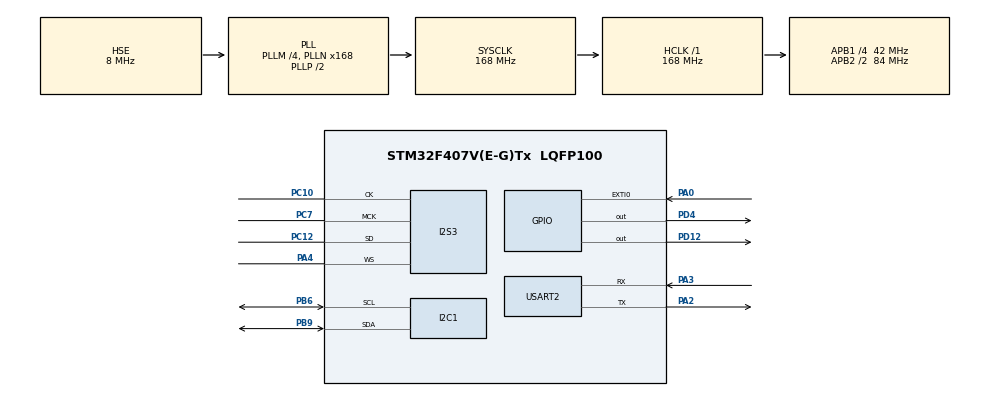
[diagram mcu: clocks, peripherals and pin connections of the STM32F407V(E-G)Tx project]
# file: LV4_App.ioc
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Dma.Request0=USART2_RX
Dma.Request1=USART2_TX
Dma.Request2=SPI3_TX
Dma.SPI3_TX.2.Direction=DMA_MEMORY_TO_PERIPH
Dma.SPI3_TX.2.FIFOMode=DMA_FIFOMODE_ENABLE
Dma.SPI3_TX.2.FIFOThreshold=DMA_FIFO_THRESHOLD_FULL
Dma.SPI3_TX.2.Instance=DMA1_Stream7
Dma.SPI3_TX.2.MemBurst=DMA_MBURST_SINGLE
Dma.SPI3_TX.2.MemDataAlignment=DMA_MDATAALIGN_BYTE
Dma.SPI3_TX.2.MemInc=DMA_MINC_ENABLE
Dma.SPI3_TX.2.Mode=DMA_CIRCULAR
Dma.SPI3_TX.2.PeriphBurst=DMA_PBURST_SINGLE
Dma.SPI3_TX.2.PeriphDataAlignment=DMA_PDATAALIGN_BYTE
Dma.SPI3_TX.2.PeriphInc=DMA_PINC_DISABLE
Dma.SPI3_TX.2.Priority=DMA_PRIORITY_LOW
Dma.USART2_RX.0.Direction=DMA_PERIPH_TO_MEMORY
Dma.USART2_RX.0.FIFOMode=DMA_FIFOMODE_DISABLE
Dma.USART2_RX.0.Instance=DMA1_Stream5
Dma.USART2_RX.0.MemDataAlignment=DMA_MDATAALIGN_BYTE
Dma.USART2_RX.0.MemInc=DMA_MINC_ENABLE
Dma.USART2_RX.0.Mode=DMA_CIRCULAR
Dma.USART2_RX.0.PeriphDataAlignment=DMA_PDATAALIGN_BYTE
Dma.USART2_RX.0.PeriphInc=DMA_PINC_DISABLE
Dma.USART2_RX.0.Priority=DMA_PRIORITY_LOW
Dma.USART2_TX.1.Direction=DMA_MEMORY_TO_PERIPH
Dma.USART2_TX.1.FIFOMode=DMA_FIFOMODE_DISABLE
Dma.USART2_TX.1.Instance=DMA1_Stream6
Dma.USART2_TX.1.MemDataAlignment=DMA_MDATAALIGN_BYTE
Dma.USART2_TX.1.MemInc=DMA_MINC_ENABLE
Dma.USART2_TX.1.Mode=DMA_NORMAL
Dma.USART2_TX.1.PeriphDataAlignment=DMA_PDATAALIGN_BYTE
Dma.USART2_TX.1.PeriphInc=DMA_PINC_DISABLE
Dma.USART2_TX.1.Priority=DMA_PRIORITY_LOW
FREERTOS.HEAP_NUMBER=2
FREERTOS.INCLUDE_vTaskDelayUntil=1
FREERTOS.Tasks01=defaultTask,0,128,StartDefaultTask,Default,NULL,Dynamic,NULL,NULL
FREERTOS.configCHECK_FOR_STACK_OVERFLOW=0
FREERTOS.configTICK_RATE_HZ=100
I2S3.AudioFreq=I2S_AUDIOFREQ_48K
I2S3.ErrorAudioFreq=-2.34 %
I2S3.FullDuplexMode=I2S_FULLDUPLEXMODE_DISABLE
I2S3.Instance=SPI$Index
I2S3.RealAudioFreq=46.875 KHz
I2S3.VirtualMode=I2S_MODE_MASTER
Mcu.Family=STM32F4
Mcu.Name=STM32F407V(E-G)Tx
Mcu.Package=LQFP100
NVIC.DMA1_Stream5_IRQn=true\:5\:0\:false\:false\:true\:true\:false\:true\:true
NVIC.DMA1_Stream6_IRQn=true\:5\:0\:false\:false\:true\:true\:false\:true\:true
NVIC.DMA1_Stream7_IRQn=true\:5\:0\:false\:false\:true\:true\:false\:true\:true
NVIC.EXTI0_IRQn=true\:0\:0\:false\:false\:true\:false\:true\:true\:true
NVIC.PriorityGroup=NVIC_PRIORITYGROUP_4
NVIC.SPI3_IRQn=true\:5\:0\:false\:false\:true\:true\:true\:true\:true
NVIC.TIM2_IRQn=true\:5\:0\:false\:false\:true\:true\:true\:true\:true
NVIC.USART2_IRQn=true\:5\:0\:false\:false\:true\:true\:true\:true\:true
PA0-WKUP.Signal=GPXTI0
PA2.Mode=Asynchronous
PA2.Signal=USART2_TX
PA3.Mode=Asynchronous
PA3.Signal=USART2_RX
PA4.Mode=Half_Duplex_Master
PA4.Signal=I2S3_WS
PB6.Mode=I2C
PB6.Signal=I2C1_SCL
PB9.Mode=I2C
PB9.Signal=I2C1_SDA
PC10.Mode=Half_Duplex_Master
PC10.Signal=I2S3_CK
PC12.Mode=Half_Duplex_Master
PC12.Signal=I2S3_SD
PC14-OSC32_IN.Mode=LSE-External-Oscillator
PC14-OSC32_IN.Signal=RCC_OSC32_IN
PC15-OSC32_OUT.Mode=LSE-External-Oscillator
PC15-OSC32_OUT.Signal=RCC_OSC32_OUT
PC7.Mode=Master_Clock_Activated
PC7.Signal=I2S3_MCK
PD12.GPIO_Speed=GPIO_SPEED_FREQ_VERY_HIGH
PD12.Signal=GPIO_Output
PD4.GPIO_PuPd=GPIO_PULLDOWN
PD4.GPIO_Speed=GPIO_SPEED_FREQ_VERY_HIGH
PD4.Signal=GPIO_Output
PH0-OSC_IN.Mode=HSE-External-Oscillator
PH0-OSC_IN.Signal=RCC_OSC_IN
PH1-OSC_OUT.Mode=HSE-External-Oscillator
PH1-OSC_OUT.Signal=RCC_OSC_OUT
ProjectManager.HeapSize=0x200
ProjectManager.StackSize=0x400
ProjectManager.TargetToolchain=STM32CubeIDE
RCC.48MHZClocksFreq_Value=84000000
RCC.AHBFreq_Value=168000000
RCC.APB1CLKDivider=RCC_HCLK_DIV4
RCC.APB1Freq_Value=42000000
RCC.APB1TimFreq_Value=84000000
RCC.APB2CLKDivider=RCC_HCLK_DIV2
RCC.APB2Freq_Value=84000000
RCC.APB2TimFreq_Value=168000000
RCC.CortexFreq_Value=168000000
RCC.HCLKFreq_Value=168000000
RCC.HSE_VALUE=8000000
RCC.HSI_VALUE=16000000
RCC.PLLM=4
RCC.PLLN=168
RCC.PLLSourceVirtual=RCC_PLLSOURCE_HSE
RCC.SYSCLKFreq_VALUE=168000000
RCC.SYSCLKSource=RCC_SYSCLKSOURCE_PLLCLK
RCC.VCOOutputFreq_Value=336000000
TIM2.Period=4000000
TIM2.Prescaler=1
USART2.VirtualMode=VM_ASYNC
VP_FREERTOS_VS_CMSIS_V1.Mode=CMSIS_V1
VP_TIM2_VS_ClockSourceINT.Mode=Internal
board=custom

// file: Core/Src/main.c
/* USER CODE BEGIN Header */
/**
  ******************************************************************************
  * @file           : main.c
  * @brief          : Main program body
  ******************************************************************************
  * @attention
  *
  * Copyright (c) 2026 STMicroelectronics.
  * All rights reserved.
  *
  * This software is licensed under terms that can be found in the LICENSE file
  * in the root directory of this software component.
  * If no LICENSE file comes with this software, it is provided AS-IS.
  *
  ******************************************************************************
  */
/* USER CODE END Header */
#include "main.h"
#include "cmsis_os.h"
#include "dma.h"
#include "i2c.h"
#include "i2s.h"
#include "tim.h"
#include "usart.h"
#include "gpio.h"

/* USER CODE BEGIN PTD */
typedef enum {
    SYS_WAIT_PASSWORD,
    SYS_NORMAL_PLAY,
	SYS_NORMAL_PAUSE
} SystemState_t;

/* USER CODE END PTD */

/* USER CODE BEGIN PD */
SemaphoreHandle_t passwordOkSem = NULL;

/* USER CODE END PD */

/* USER CODE BEGIN PV */
volatile SystemState_t systemState = SYS_WAIT_PASSWORD;

/* USER CODE END PV */

void SystemClock_Config(void);
void MX_FREERTOS_Init(void);

/* USER CODE BEGIN 0 */
QueueHandle_t freqQueue;
QueueHandle_t ampQueue;

void vTaskLed(void *pvParameters){
	TickType_t xLastWakeTime = xTaskGetTickCount();

	while(1)
	{
		HAL_GPIO_WritePin(LED_GREEN_PORT, LED_GREEN_PIN, GPIO_PIN_SET);
		vTaskDelayUntil(&xLastWakeTime, pdMS_TO_TICKS(100));

        HAL_GPIO_WritePin(LED_GREEN_PORT, LED_GREEN_PIN, GPIO_PIN_RESET);
		vTaskDelayUntil(&xLastWakeTime, pdMS_TO_TICKS(200));

		HAL_GPIO_WritePin(LED_GREEN_PORT, LED_GREEN_PIN, GPIO_PIN_SET);
		vTaskDelayUntil(&xLastWakeTime, pdMS_TO_TICKS(100));

        HAL_GPIO_WritePin(LED_GREEN_PORT, LED_GREEN_PIN, GPIO_PIN_RESET);
		vTaskDelayUntil(&xLastWakeTime, pdMS_TO_TICKS(600));
	}
}

void vTaskPassword(void *pvParameters)
{
    uint8_t buf[sizeof(PASSWORD)];
    uint8_t tmp;
    uint8_t index = 0;

    printf("Lab 4: Programming industrial embedded systems. Please enter password:\r\n");

    while(1)
    {
        if (xQueueReceive(uartRxQueue, &tmp, portMAX_DELAY) == pdTRUE)
        {
            if (tmp == '\r' || tmp == '\n')
                continue;

            if (index < sizeof(buf) - 1)
            {
                buf[index++] = tmp;
            }

            if (index == (sizeof(buf) - 1))
            {
                buf[index] = '\0';

                if (strcmp((char *)buf, PASSWORD) == 0)
                {
                    printf("OK\r\n");
                    systemState = SYS_NORMAL_PLAY;
                    uint8_t delete;
					while (xQueueReceive(uartRxQueue, &delete, 0) == pdTRUE)
					{
						// make queue empty
					}
					xSemaphoreGive(passwordOkSem);
                    vTaskDelete(NULL);
                }
                else
                {
                    index = 0;
                    printf("Wrong password. Try again:\r\n");
                }
            }
        }
    }
}

void vTaskAudio(void *pvParameters)
{
	configAudio();
    uint32_t newFreq;
    float newAmp;

    while (1)
    {
        if (systemState == SYS_NORMAL_PLAY)
        {
        	HAL_I2S_Transmit_DMA(&hi2s3, (uint16_t*)dmaBuffer, SINE_BUFFER_SIZE);

            while (systemState == SYS_NORMAL_PLAY)
            {
            	if (xQueueReceive(freqQueue, &newFreq, pdMS_TO_TICKS(10)) == pdTRUE)
				{
					changeAudioFrequency(newFreq);
				}
                if (xQueueReceive(ampQueue, &newAmp, pdMS_TO_TICKS(10)) == pdTRUE)
                {
                    changeAudioAmplitude(newAmp);
                }
            }

            HAL_I2S_DMAStop(&hi2s3);
        }
        else
        {
            vTaskDelay(pdMS_TO_TICKS(50));
        }
    }
}

void vTaskUartCmd(void *pvParameters)
{
    char cmdBuf[8];
    uint8_t tmp;
    uint8_t idx = 0;

    xSemaphoreTake(passwordOkSem, portMAX_DELAY);

    while(1)
    {
        xQueueReceive(uartRxQueue, &tmp, portMAX_DELAY);
        if (tmp == '\r' || tmp == '\n')
        {
            cmdBuf[idx] = '\0';
            idx = 0;

            if (cmdBuf[0] == 'f')
            {
                int freq = atoi(&cmdBuf[1]);

                if (freq > 0)
                {
                    //changeAudioFrequency((uint32_t)freq);
                	xQueueSend(freqQueue, &freq, 0);
                    printf("OK\r\n");
                }
                else
                {
                    printf("ERR\r\n");
                }
            }
            else if (cmdBuf[0] == 'a')
            {
                int ampPercent = atoi(&cmdBuf[1]);

                if (ampPercent >= 0 && ampPercent <= 100)
                {
                    float amp = ampPercent / 100.0f;
                    //changeAudioAmplitude(amp);
                    xQueueSend(ampQueue, &amp, 0);
                    printf("OK\r\n");
                }
                else
                {
                    printf("ERR\r\n");
                }
            }
            else
            {
                printf("ERR\r\n");
            }
        }
        else
        {
            if (idx < (sizeof(cmdBuf) - 1))
            {
                cmdBuf[idx++] = tmp;
            }
            else
            {
                idx = 0;
                printf("ERR\r\n");
            }
        }
    }
}

void toggleAudioPlayingState(){
	if(systemState == SYS_NORMAL_PLAY){
		systemState = SYS_NORMAL_PAUSE;
	} else if (systemState == SYS_NORMAL_PAUSE){
		systemState = SYS_NORMAL_PLAY;
	}
}

/* USER CODE END 0 */

int main(void)
{

  /* MCU Configuration--------------------------------------------------------*/

  /* Reset of all peripherals, Initializes the Flash interface and the Systick. */
  HAL_Init();

  /* Configure the system clock */
  SystemClock_Config();

  /* Initialize all configured peripherals */
  MX_GPIO_Init();
  MX_DMA_Init();
  MX_USART2_UART_Init();
  MX_I2C1_Init();
  MX_I2S3_Init();
  MX_TIM2_Init();
  /* USER CODE BEGIN 2 */
  HAL_UART_Receive_DMA(&huart2, uartRxDmaBuf, RX_DMA_BUF_SIZE);
  __HAL_UART_ENABLE_IT(&huart2, UART_IT_IDLE);

  /* USER CODE END 2 */

  /* Call init function for freertos objects (in freertos.c) */
  MX_FREERTOS_Init();

  /* Start scheduler */
  osKernelStart();

  /* We should never get here as control is now taken by the scheduler */
  /* Infinite loop */
  while (1)
  {

    /* USER CODE BEGIN 3 */
	  //signal = rand();
	  //HAL_I2S_Transmit(&hi2s3, &signal, 1, 10);

  }
  /* USER CODE END 3 */
}

void SystemClock_Config(void)
{
  RCC_OscInitTypeDef RCC_OscInitStruct = {0};
  RCC_ClkInitTypeDef RCC_ClkInitStruct = {0};

  /** Configure the main internal regulator output voltage
  */
  __HAL_RCC_PWR_CLK_ENABLE();
  __HAL_PWR_VOLTAGESCALING_CONFIG(PWR_REGULATOR_VOLTAGE_SCALE1);

  /** Initializes the RCC Oscillators according to the specified parameters
  * in the RCC_OscInitTypeDef structure.
  */
  RCC_OscInitStruct.OscillatorType = RCC_OSCILLATORTYPE_HSE;
  RCC_OscInitStruct.HSEState = RCC_HSE_ON;
  RCC_OscInitStruct.PLL.PLLState = RCC_PLL_ON;
  RCC_OscInitStruct.PLL.PLLSource = RCC_PLLSOURCE_HSE;
  RCC_OscInitStruct.PLL.PLLM = 4;
  RCC_OscInitStruct.PLL.PLLN = 168;
  RCC_OscInitStruct.PLL.PLLP = RCC_PLLP_DIV2;
  RCC_OscInitStruct.PLL.PLLQ = 4;
  if (HAL_RCC_OscConfig(&RCC_OscInitStruct) != HAL_OK)
  {
    Error_Handler();
  }

  /** Initializes the CPU, AHB and APB buses clocks
  */
  RCC_ClkInitStruct.ClockType = RCC_CLOCKTYPE_HCLK|RCC_CLOCKTYPE_SYSCLK
                              |RCC_CLOCKTYPE_PCLK1|RCC_CLOCKTYPE_PCLK2;
  RCC_ClkInitStruct.SYSCLKSource = RCC_SYSCLKSOURCE_PLLCLK;
  RCC_ClkInitStruct.AHBCLKDivider = RCC_SYSCLK_DIV1;
  RCC_ClkInitStruct.APB1CLKDivider = RCC_HCLK_DIV4;
  RCC_ClkInitStruct.APB2CLKDivider = RCC_HCLK_DIV2;

  if (HAL_RCC_ClockConfig(&RCC_ClkInitStruct, FLASH_LATENCY_5) != HAL_OK)
  {
    Error_Handler();
  }
}

void Error_Handler(void)
{
  __disable_irq();
  while (1)
  {
  }
}

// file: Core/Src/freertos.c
/* USER CODE BEGIN Header */
/**
  ******************************************************************************
  * File Name          : freertos.c
  * Description        : Code for freertos applications
  ******************************************************************************
  * @attention
  *
  * Copyright (c) 2026 STMicroelectronics.
  * All rights reserved.
  *
  * This software is licensed under terms that can be found in the LICENSE file
  * in the root directory of this software component.
  * If no LICENSE file comes with this software, it is provided AS-IS.
  *
  ******************************************************************************
  */
/* USER CODE END Header */

#include "FreeRTOS.h"
#include "task.h"
#include "main.h"
#include "cmsis_os.h"

/* USER CODE BEGIN Variables */
extern SemaphoreHandle_t passwordOkSem;
extern QueueHandle_t uartRxQueue;
extern QueueHandle_t freqQueue;
extern QueueHandle_t ampQueue;

/* USER CODE END Variables */
osThreadId defaultTaskHandle;

/* USER CODE BEGIN FunctionPrototypes */
void vTaskLed(void *pvParameters);
void vTaskPassword(void *pvParameters);
void vTaskAudio(void *pvParameters);
void vTaskUartCmd(void *pvParameters);

/* USER CODE END FunctionPrototypes */

void StartDefaultTask(void const * argument);

void MX_FREERTOS_Init(void); /* (MISRA C 2004 rule 8.1) */

/* GetIdleTaskMemory prototype (linked to static allocation support) */
void vApplicationGetIdleTaskMemory( StaticTask_t **ppxIdleTaskTCBBuffer, StackType_t **ppxIdleTaskStackBuffer, uint32_t *pulIdleTaskStackSize );

/* USER CODE BEGIN GET_IDLE_TASK_MEMORY */
static StaticTask_t xIdleTaskTCBBuffer;
static StackType_t xIdleStack[configMINIMAL_STACK_SIZE];

void vApplicationGetIdleTaskMemory( StaticTask_t **ppxIdleTaskTCBBuffer, StackType_t **ppxIdleTaskStackBuffer, uint32_t *pulIdleTaskStackSize )
{
  *ppxIdleTaskTCBBuffer = &xIdleTaskTCBBuffer;
  *ppxIdleTaskStackBuffer = &xIdleStack[0];
  *pulIdleTaskStackSize = configMINIMAL_STACK_SIZE;
  /* place for user code */
}
/* USER CODE END GET_IDLE_TASK_MEMORY */

void MX_FREERTOS_Init(void) {

  /* USER CODE BEGIN RTOS_SEMAPHORES */
  /* add semaphores, ... */
	passwordOkSem = xSemaphoreCreateBinary();
  /* USER CODE END RTOS_SEMAPHORES */

  /* USER CODE BEGIN RTOS_QUEUES */
  /* add queues, ... */
	uartRxQueue = xQueueCreate(16, sizeof(uint8_t));
	freqQueue = xQueueCreate(4, sizeof(uint32_t));
	ampQueue  = xQueueCreate(4, sizeof(float));
  /* USER CODE END RTOS_QUEUES */

  /* Create the thread(s) */
  /* definition and creation of defaultTask */
  osThreadDef(defaultTask, StartDefaultTask, osPriorityNormal, 0, 128);
  defaultTaskHandle = osThreadCreate(osThread(defaultTask), NULL);

  /* USER CODE BEGIN RTOS_THREADS */
  /* add threads, ... */
  xTaskCreate(vTaskLed, "TASK LED", configMINIMAL_STACK_SIZE, NULL, 2, NULL);
  xTaskCreate(vTaskPassword, "TASK PASSWORD", 2048, NULL, 1, NULL);
  xTaskCreate(vTaskAudio, "TASK AUDIO", configMINIMAL_STACK_SIZE, NULL, 2, NULL);
  xTaskCreate(vTaskUartCmd, "TASK CMD", configMINIMAL_STACK_SIZE, NULL, 2, NULL);
  /* USER CODE END RTOS_THREADS */

}

void StartDefaultTask(void const * argument)
{
  for(;;)
  {
    osDelay(1);
  }
}
